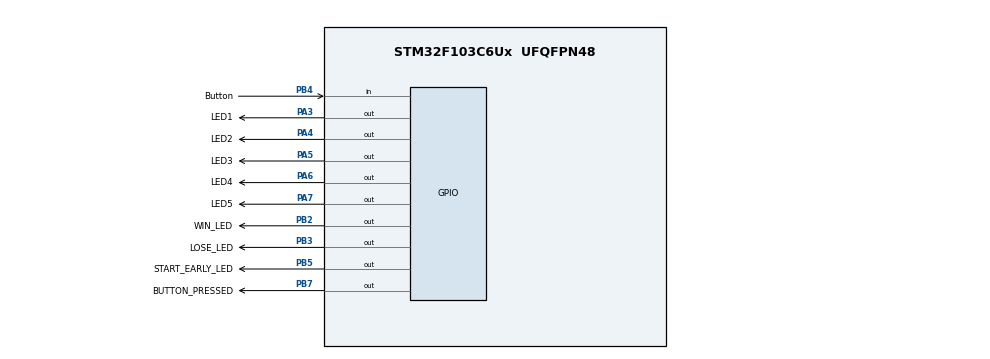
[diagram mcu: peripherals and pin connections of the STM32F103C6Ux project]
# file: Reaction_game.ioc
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IWDG.Prescaler=IWDG_PRESCALER_256
IWDG.Reload=312
Mcu.Family=STM32F1
Mcu.Name=STM32F103C6Ux
Mcu.Package=UFQFPN48
NVIC.PriorityGroup=NVIC_PRIORITYGROUP_4
NVIC.TIM2_IRQn=true\:0\:0\:false\:false\:true\:true\:true
PA13.Mode=Serial_Wire
PA13.Signal=SYS_JTMS-SWDIO
PA14.Mode=Serial_Wire
PA14.Signal=SYS_JTCK-SWCLK
PA3.GPIO_Label=LED1
PA3.Signal=GPIO_Output
PA4.GPIO_Label=LED2
PA4.Signal=GPIO_Output
PA5.GPIO_Label=LED3
PA5.Signal=GPIO_Output
PA6.GPIO_Label=LED4
PA6.Signal=GPIO_Output
PA7.GPIO_Label=LED5
PA7.Signal=GPIO_Output
PB2.GPIO_Label=WIN_LED
PB2.Signal=GPIO_Output
PB3.GPIO_Label=LOSE_LED
PB3.Signal=GPIO_Output
PB4.GPIO_Label=Button
PB4.GPIO_PuPd=GPIO_PULLUP
PB4.Signal=GPIO_Input
PB5.GPIO_Label=START_EARLY_LED
PB5.Signal=GPIO_Output
PB7.GPIO_Label=BUTTON_PRESSED
PB7.Signal=GPIO_Output
ProjectManager.HeapSize=0x200
ProjectManager.StackSize=0x400
ProjectManager.TargetToolchain=STM32CubeIDE
RCC.APB1Freq_Value=8000000
RCC.APB2Freq_Value=8000000
TIM2.Period=9
TIM2.Prescaler=7999
VP_IWDG_VS_IWDG.Mode=IWDG_Activate
VP_TIM2_VS_ClockSourceINT.Mode=Internal
board=custom

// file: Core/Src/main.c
/* USER CODE BEGIN Header */
/**
  ******************************************************************************
  * @file           : main.c
  * @brief          : Main program body
  ******************************************************************************
  * @attention
  *
  * <h2><center>&copy; Copyright (c) 2026 STMicroelectronics.
  * All rights reserved.</center></h2>
  *
  * This software component is licensed by ST under BSD 3-Clause license,
  * the "License"; You may not use this file except in compliance with the
  * License. You may obtain a copy of the License at:
  *                        opensource.org/licenses/BSD-3-Clause
  *
  ******************************************************************************
  */
/* USER CODE END Header */
#include "main.h"

void SystemClock_Config(void);
static void MX_GPIO_Init(void);
static void MX_IWDG_Init(void);
static void MX_TIM2_Init(void);

int main(void)
{

  /* MCU Configuration--------------------------------------------------------*/

  /* Reset of all peripherals, Initializes the Flash interface and the Systick. */
  HAL_Init();

  /* Configure the system clock */
  SystemClock_Config();

  /* Initialize all configured peripherals */
  MX_GPIO_Init();
  MX_IWDG_Init();
  MX_TIM2_Init();
  /* USER CODE BEGIN 2 */
  mainInit();
  mainTask();
  /* USER CODE END 2 */

  /* Infinite loop */
  while (1)
  {

    /* USER CODE BEGIN 3 */
	  SCH_DispatchTasks();
  }
  /* USER CODE END 3 */
}

void SystemClock_Config(void)
{
  RCC_OscInitTypeDef RCC_OscInitStruct = {0};
  RCC_ClkInitTypeDef RCC_ClkInitStruct = {0};

  /** Initializes the RCC Oscillators according to the specified parameters
  * in the RCC_OscInitTypeDef structure.
  */
  RCC_OscInitStruct.OscillatorType = RCC_OSCILLATORTYPE_HSI|RCC_OSCILLATORTYPE_LSI;
  RCC_OscInitStruct.HSIState = RCC_HSI_ON;
  RCC_OscInitStruct.HSICalibrationValue = RCC_HSICALIBRATION_DEFAULT;
  RCC_OscInitStruct.LSIState = RCC_LSI_ON;
  RCC_OscInitStruct.PLL.PLLState = RCC_PLL_NONE;
  if (HAL_RCC_OscConfig(&RCC_OscInitStruct) != HAL_OK)
  {
    Error_Handler();
  }
  /** Initializes the CPU, AHB and APB buses clocks
  */
  RCC_ClkInitStruct.ClockType = RCC_CLOCKTYPE_HCLK|RCC_CLOCKTYPE_SYSCLK
                              |RCC_CLOCKTYPE_PCLK1|RCC_CLOCKTYPE_PCLK2;
  RCC_ClkInitStruct.SYSCLKSource = RCC_SYSCLKSOURCE_HSI;
  RCC_ClkInitStruct.AHBCLKDivider = RCC_SYSCLK_DIV1;
  RCC_ClkInitStruct.APB1CLKDivider = RCC_HCLK_DIV1;
  RCC_ClkInitStruct.APB2CLKDivider = RCC_HCLK_DIV1;

  if (HAL_RCC_ClockConfig(&RCC_ClkInitStruct, FLASH_LATENCY_0) != HAL_OK)
  {
    Error_Handler();
  }
}

static void MX_IWDG_Init(void)
{

  hiwdg.Instance = IWDG;
  hiwdg.Init.Prescaler = IWDG_PRESCALER_256;
  hiwdg.Init.Reload = 312;
  if (HAL_IWDG_Init(&hiwdg) != HAL_OK)
  {
    Error_Handler();
  }

}

static void MX_TIM2_Init(void)
{

  TIM_ClockConfigTypeDef sClockSourceConfig = {0};
  TIM_MasterConfigTypeDef sMasterConfig = {0};

  htim2.Instance = TIM2;
  htim2.Init.Prescaler = 7999;
  htim2.Init.CounterMode = TIM_COUNTERMODE_UP;
  htim2.Init.Period = 9;
  htim2.Init.ClockDivision = TIM_CLOCKDIVISION_DIV1;
  htim2.Init.AutoReloadPreload = TIM_AUTORELOAD_PRELOAD_DISABLE;
  if (HAL_TIM_Base_Init(&htim2) != HAL_OK)
  {
    Error_Handler();
  }
  sClockSourceConfig.ClockSource = TIM_CLOCKSOURCE_INTERNAL;
  if (HAL_TIM_ConfigClockSource(&htim2, &sClockSourceConfig) != HAL_OK)
  {
    Error_Handler();
  }
  sMasterConfig.MasterOutputTrigger = TIM_TRGO_RESET;
  sMasterConfig.MasterSlaveMode = TIM_MASTERSLAVEMODE_DISABLE;
  if (HAL_TIMEx_MasterConfigSynchronization(&htim2, &sMasterConfig) != HAL_OK)
  {
    Error_Handler();
  }

}

static void MX_GPIO_Init(void)
{
  GPIO_InitTypeDef GPIO_InitStruct = {0};

  /* GPIO Ports Clock Enable */
  __HAL_RCC_GPIOA_CLK_ENABLE();
  __HAL_RCC_GPIOB_CLK_ENABLE();

  /*Configure GPIO pin Output Level */
  HAL_GPIO_WritePin(GPIOA, LED1_Pin|LED2_Pin|LED3_Pin|LED4_Pin
                          |LED5_Pin, GPIO_PIN_RESET);

  /*Configure GPIO pin Output Level */
  HAL_GPIO_WritePin(GPIOB, WIN_LED_Pin|LOSE_LED_Pin|START_EARLY_LED_Pin|BUTTON_PRESSED_Pin, GPIO_PIN_RESET);

  /*Configure GPIO pins : LED1_Pin LED2_Pin LED3_Pin LED4_Pin
                           LED5_Pin */
  GPIO_InitStruct.Pin = LED1_Pin|LED2_Pin|LED3_Pin|LED4_Pin
                          |LED5_Pin;
  GPIO_InitStruct.Mode = GPIO_MODE_OUTPUT_PP;
  GPIO_InitStruct.Pull = GPIO_NOPULL;
  GPIO_InitStruct.Speed = GPIO_SPEED_FREQ_LOW;
  HAL_GPIO_Init(GPIOA, &GPIO_InitStruct);

  /*Configure GPIO pins : WIN_LED_Pin LOSE_LED_Pin START_EARLY_LED_Pin BUTTON_PRESSED_Pin */
  GPIO_InitStruct.Pin = WIN_LED_Pin|LOSE_LED_Pin|START_EARLY_LED_Pin|BUTTON_PRESSED_Pin;
  GPIO_InitStruct.Mode = GPIO_MODE_OUTPUT_PP;
  GPIO_InitStruct.Pull = GPIO_NOPULL;
  GPIO_InitStruct.Speed = GPIO_SPEED_FREQ_LOW;
  HAL_GPIO_Init(GPIOB, &GPIO_InitStruct);

  /*Configure GPIO pin : Button_Pin */
  GPIO_InitStruct.Pin = Button_Pin;
  GPIO_InitStruct.Mode = GPIO_MODE_INPUT;
  GPIO_InitStruct.Pull = GPIO_PULLUP;
  HAL_GPIO_Init(Button_GPIO_Port, &GPIO_InitStruct);

}

/* USER CODE BEGIN 4 */
void HAL_TIM_PeriodElapsedCallback(TIM_HandleTypeDef *htim){
	if (htim->Instance == TIM2){
		SCH_Update();
		//errorRun();
	}
}

void mainInit(){
	SCH_Init();
	watchDogInit();
	gameFSMInit();
	writeLED(GPIO_PIN_SET);
}
void mainTask(){
	SCH_AddTask(watchDogRefresh,10,100);
	SCH_AddTask(gameFSMRun,0,10);
	SCH_AddTask(getKeyInput,0,10);
	SCH_AddTask(blinkRun,0,10);
}
/* USER CODE END 4 */

void Error_Handler(void)
{
  __disable_irq();
  while (1)
  {
  }
}

/************************ (C) COPYRIGHT STMicroelectronics *****END OF FILE****/
